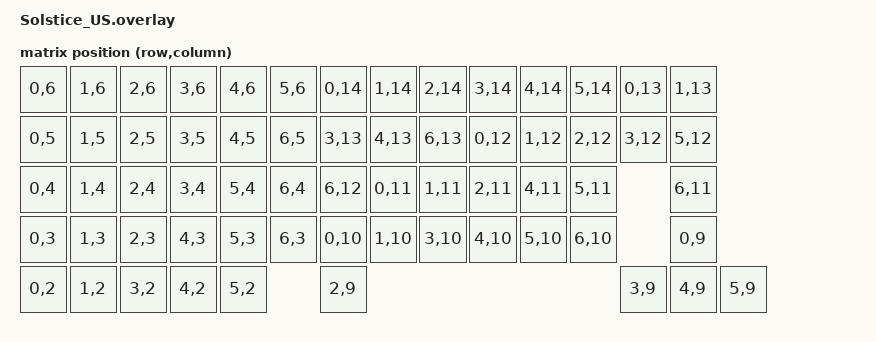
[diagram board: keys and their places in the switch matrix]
#include <dt-bindings/zmk/matrix_transform.h>
#include <behaviors/rgbled_widget.dtsi>
#include <physical_layouts.dtsi>

/ {
	chosen {
		zmk,physical-layout = &layout_US;
	};
	
	default_transform: keymap_transform_0 {
		compatible = "zmk,matrix-transform";
		columns = <15>;
		rows = <7>;
		
		map = <
		RC(0,6)   RC(1,6)   RC(2,6)   RC(3,6)   RC(4,6)   RC(5,6)       RC(0,14)  RC(1,14)  RC(2,14)  RC(3,14)  RC(4,14)  RC(5,14)  RC(0,13)  RC(1,13)
		RC(0,5)   RC(1,5)   RC(2,5)   RC(3,5)   RC(4,5)   RC(6,5)       RC(3,13)  RC(4,13)  RC(6,13)  RC(0,12)  RC(1,12)  RC(2,12)  RC(3,12)  RC(5,12)
		RC(0,4)   RC(1,4)   RC(2,4)   RC(3,4)   RC(5,4)   RC(6,4)       RC(6,12)  RC(0,11)  RC(1,11)  RC(2,11)  RC(4,11)  RC(5,11)            RC(6,11)
		RC(0,3)   RC(1,3)   RC(2,3)   RC(4,3)   RC(5,3)   RC(6,3)       RC(0,10)  RC(1,10)  RC(3,10)  RC(4,10)  RC(5,10)  RC(6,10)            RC(0,9)
		RC(0,2)   RC(1,2)   RC(3,2)   RC(4,2)   RC(5,2)                 RC(2,9)                                                     RC(3,9)   RC(4,9)  RC(5,9)
		>;
	};

    aliases {
        led-red = &led0;
        led-green = &led1;
        led-blue = &led2;
    };

    leds {
        compatible = "gpio-leds";
        status = "okay";
        led0: led_0 {
            gpios = <&gpio0 26 GPIO_ACTIVE_LOW>;  // red LED, connected to P0.26
        };
        led1: led_1 {
            gpios = <&gpio0 30 GPIO_ACTIVE_LOW>;  // green LED, connected to P0.30
        };
        led2: led_2 {
            gpios = <&gpio0 6 GPIO_ACTIVE_LOW>;  // blue LED, connected to P0.06
        };
    };
	
	layout_US: layout_US {
		compatible = "zmk,physical-layout";
		display-name = "US";
		transform = <&default_transform>;
		kscan = <&kscan0>;
		
		keys//                    w   h    x    y     rot    rx    ry
		= <&key_physical_attrs 100 100    0    0       0     0     0>
		, <&key_physical_attrs 100 100  100    0       0     0     0>
		, <&key_physical_attrs 100 100  201    2     375   251    52>
		, <&key_physical_attrs 100 100  301   13     875   351    63>
		, <&key_physical_attrs 100 100  400   33    1125   450    83>
		, <&key_physical_attrs 100 100  499   48     625   549    98>
		, <&key_physical_attrs 100 100  900   54     125   950   104>
		, <&key_physical_attrs 100 100 1001   52  (-375)  1051   102>
		, <&key_physical_attrs 100 100 1101   41  (-875)  1151    91>
		, <&key_physical_attrs 100 100 1200   22 (-1125)  1250    72>
		, <&key_physical_attrs 100 100 1299    7  (-625)  1349    57>
		, <&key_physical_attrs 100 100 1400    0  (-125)  1450    50>
		, <&key_physical_attrs 100 100 1500    0       0     0     0>
		, <&key_physical_attrs 200 100 1600    0       0     0     0>
		, <&key_physical_attrs 100 100    0  600       0     0     0>
		, <&key_physical_attrs 150 100    0  100       0     0     0>
		, <&key_physical_attrs 100 100  150  100     125   200   150>
		, <&key_physical_attrs 100 100  251  107     625   301   157>
		, <&key_physical_attrs 100 100  350  122    1125   400   172>
		, <&key_physical_attrs 100 100  449  141     875   499   191>
		, <&key_physical_attrs 100 100  549  152     375   599   202>
		, <&key_physical_attrs 100 100  950  154  (-125)  1000   204>
		, <&key_physical_attrs 100 100 1051  148  (-625)  1101   198>
		, <&key_physical_attrs 100 100 1150  133 (-1125)  1200   183>
		, <&key_physical_attrs 100 100 1249  113  (-875)  1299   163>
		, <&key_physical_attrs 100 100 1349  102  (-375)  1399   152>
		, <&key_physical_attrs 100 100 1450  100       0     0     0>
		, <&key_physical_attrs 100 100 1550  100       0     0     0>
		, <&key_physical_attrs 150 100 1650  100       0     0     0>
		, <&key_physical_attrs 175 100    0  200       0     0     0>
		, <&key_physical_attrs 100 100  175  201     250   225   251>
		, <&key_physical_attrs 100 100  276  210     750   326   260>
		, <&key_physical_attrs 100 100  375  227    1250   425   277>
		, <&key_physical_attrs 100 100  474  245     750   524   295>
		, <&key_physical_attrs 100 100  575  254     250   625   304>
		, <&key_physical_attrs 100 100  975  254  (-250)  1025   304>
		, <&key_physical_attrs 100 100 1076  245  (-750)  1126   295>
		, <&key_physical_attrs 100 100 1175  227 (-1250)  1225   277>
		, <&key_physical_attrs 100 100 1274  210  (-750)  1324   260>
		, <&key_physical_attrs 100 100 1375  201  (-250)  1425   251>
		, <&key_physical_attrs 100 100 1475  200       0     0     0>
		, <&key_physical_attrs 225 100 1575  200       0     0     0>
		, <&key_physical_attrs 225 100    0  300       0     0     0>
		, <&key_physical_attrs 100 100  226  304     500   276   354>
		, <&key_physical_attrs 100 100  326  318    1000   376   368>
		, <&key_physical_attrs 100 100  424  337    1000   474   387>
		, <&key_physical_attrs 100 100  524  350     500   574   400>
		, <&key_physical_attrs 100 100  625  355       0     0     0>
		, <&key_physical_attrs 100 100 1026  350  (-500)  1076   400>
		, <&key_physical_attrs 100 100 1126  337 (-1000)  1176   387>
		, <&key_physical_attrs 100 100 1224  318 (-1000)  1274   368>
		, <&key_physical_attrs 100 100 1324  304  (-500)  1374   354>
		, <&key_physical_attrs 100 100 1425  300       0     0     0>
		, <&key_physical_attrs 100 100 1525  300       0     0     0>
		, <&key_physical_attrs 100 100 1650  325       0     0     0>
		, <&key_physical_attrs 125 100    0  400       0     0     0>
		, <&key_physical_attrs 125 100  125  400       0     0     0>
		, <&key_physical_attrs 125 100  253  409     700   316   459>
		, <&key_physical_attrs 100 100  325  445    1195   457   785>
		, <&key_physical_attrs 175 100  473  455     445   585   801>
		, <&key_physical_attrs 100 100 1002  455  (-445)  1065   801>
		, <&key_physical_attrs 100 100 1550  425       0     0     0>
		, <&key_physical_attrs 100 100 1650  425       0     0     0>
		, <&key_physical_attrs 100 100 1750  425       0     0     0>
		;
	};
	
	position_map {
		compatible = "zmk,physical-layout-position-map";
		// complete;
		
		layout_US {
			physical-layout = <&layout_US>;
			positions
			= < 0  1  2  3  4  5  6  7  8  9 10 11 12 13   >
			, <14 15 16 17 18 19 20 21 22 23 24 25 26 27   >
			, <28 29 30 31 32 33 34 35 36 37 38 39    40   >
			, <41 42 43 44 45 46 47 48 49 50 51 52 53 54   >
			, <55 56 57 58 59                      60 61 62>
			;
		};
	};
};
